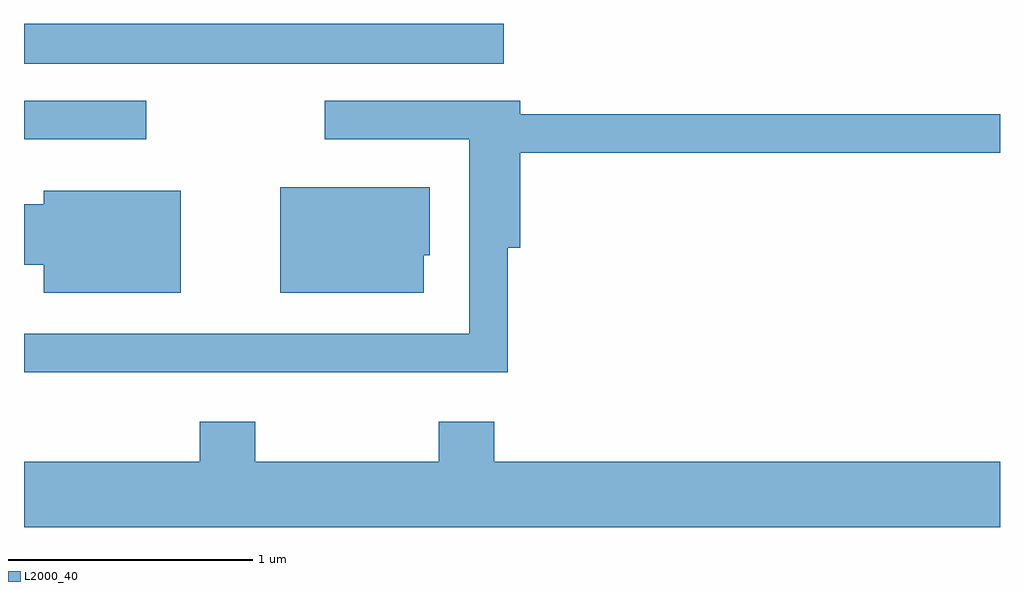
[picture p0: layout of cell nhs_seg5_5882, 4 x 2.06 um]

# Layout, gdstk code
import gdstk
lib = gdstk.Library(unit=1e-6, precision=1e-09)
def R(c, l, rs):  # rectangles x0, y0, x1, y1
    for r in rs: c.add(gdstk.rectangle(r[:2], r[2:], *l))
def P(c, l, *ps):  # polygons
    for p in ps: c.add(gdstk.Polygon(p, *l))
L2000_40 = (2000, 40)

nhs_seg5_5882 = lib.new_cell('nhs_seg5_5882')
R(nhs_seg5_5882, L2000_40, [(359.611,1449.506,360.113,1449.664), (359.611,1449.816,361.578,1449.979)])
P(nhs_seg5_5882, L2000_40, [(361.594,1449.061),(361.644,1449.061),(361.644,1449.451),(363.611,1449.451),(363.611,1449.609),(361.644,1449.609),(361.644,1449.664),(360.843,1449.664),(360.843,1449.506),(361.436,1449.506),(361.436,1448.709),(359.611,1448.709),(359.611,1448.551),(361.594,1448.551)],
  [(361.249,1449.031),(361.274,1449.031),(361.274,1449.309),(360.661,1449.309),(360.661,1448.876),(361.249,1448.876)],
  [(360.254,1449.294),(359.691,1449.294),(359.691,1449.239),(359.611,1449.239),(359.611,1448.991),(359.691,1448.991),(359.691,1448.876),(360.254,1448.876)],
  [(363.611,1448.184),(361.539,1448.184),(361.539,1448.349),(361.311,1448.349),(361.311,1448.184),(360.559,1448.184),(360.559,1448.349),(360.331,1448.349),(360.331,1448.184),(359.611,1448.184),(359.611,1447.916),(363.611,1447.916)])

lib.write_gds('nhs_seg5_5882.gds')
